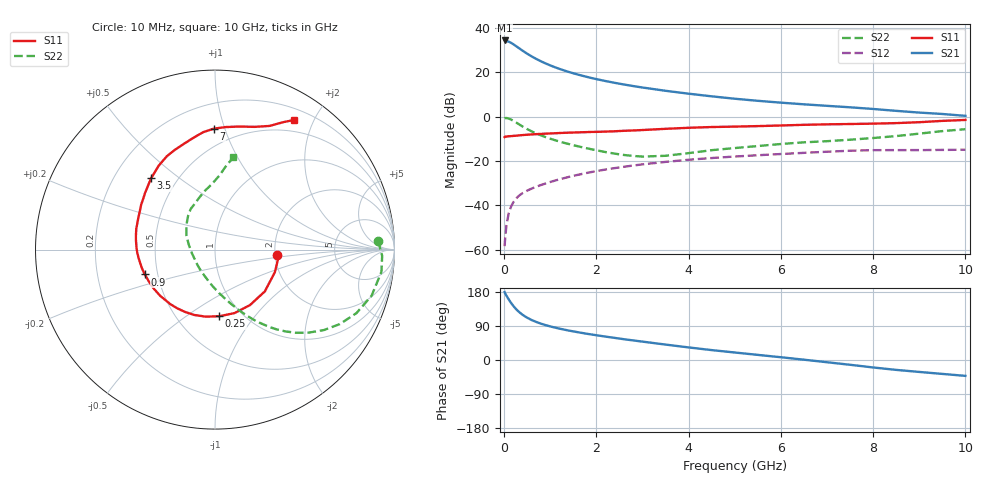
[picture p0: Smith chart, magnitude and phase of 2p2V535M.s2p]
! (c) 2009  Infineon Technologies AG, Munich
! Infineon Technologies  Discrete & RF Semiconductors
! BFP420
! VCE =  2.5 V,  IC =  35 mA
! Common Emitter S-Parameters:  Nov 2009
# GHz  S  MA  R  50
!  f  S11  S21  S12  S22
! GHz  MAG  ANG  MAG  ANG  MAG  ANG  MAG  ANG
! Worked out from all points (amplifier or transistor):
!   46 points, 10 MHz to 10 GHz, reference 50 ohm
!   highest |S21| = 34.4 dB at 10 MHz (marker M1)
!   |S21| within 3 dB of that: start of sweep to 288.8 MHz
!   unconditionally stable (mu >= 1): start of sweep to 12.34 MHz; 1.436 GHz to end of sweep
!   at 300 MHz: K = 0.43, MSG = 33.6 dB, |S12| = -36.0 dB
!   at 1.7 GHz: K = 1.05, MAG = 20.8 dB, |S12| = -25.8 dB
!   at 10 GHz: K = 1.06, MAG = 6.2 dB, |S12| = -14.9 dB
!   lowest NFmin = 1.64 dB at 900 MHz
!   S11 on the Smith chart (normalised r, x): 10 MHz: 2.05, -0.14; 250 MHz: 0.79, -0.68; 900 MHz: 0.42, -0.14; 3.5 GHz: 0.36, +0.40; 7 GHz: 0.37, +0.92; 10 GHz: 0.34, +1.73
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0.01  0.3472 -4.9  52.64 179.4  0.0012 105.2  0.9106 3.0
0.02  0.355 -9.0  51.54 175.9  0.0017 86.4  0.9319 -2.1
0.05  0.3565 -20.7  51.03 169.7  0.0036 85.4  0.9356 -7.6
0.1  0.3624 -40.0  49.36 159.7  0.0067 78.4  0.9096 -16.4
0.15  0.3655 -57.9  46.47 150.6  0.0094 74.0  0.8639 -24.2
0.2  0.3701 -73.0  43.19 142.6  0.0118 70.0  0.8091 -30.9
0.25  0.3719 -86.4  39.72 135.4  0.0139 66.8  0.7529 -36.6
0.3  0.3773 -97.9  36.58 129.3  0.0158 64.6  0.6979 -41.5
0.35  0.3821 -107.6  33.63 124.0  0.0174 62.8  0.6476 -45.7
0.4  0.3853 -115.8  30.96 119.3  0.0189 61.6  0.6024 -49.2
0.5  0.3927 -129.2  26.44 111.6  0.0215 60.2  0.5257 -55.0
0.6  0.3993 -139.6  22.88 105.3  0.024 59.5  0.4653 -59.7
0.7  0.405 -147.9  20.06 100.2  0.0264 59.3  0.4174 -63.5
0.9  0.4151 -160.5  15.93 92.0  0.0312 59.2  0.3466 -70.0
1.3  0.4334 -177.7  11.08 80.2  0.0412 58.7  0.2578 -81.8
1.7  0.4472 170.1  8.396 71.2  0.0515 56.9  0.2039 -93.8
2.4  0.4698 153.2  5.814 58.3  0.0694 51.8  0.1466 -119.1
3.5  0.5335 131.9  3.85 40.7  0.0958 41.9  0.1314 -173.0
5.5  0.6145 106.3  2.287 13.5  0.1353 22.8  0.2182 135.9
7  0.6738 90.6  1.762 -5.9  0.1624 8.4  0.281 113.2
8.5  0.7182 72.2  1.357 -26.1  0.1766 -8.8  0.3661 92.6
10  0.8464 58.6  1.047 -41.9  0.18 -20.2  0.5243 78.7
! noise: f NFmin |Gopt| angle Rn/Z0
0.9  1.64  0.3  -155  0.13
1.8  1.9  0.37  -142  0.15
2.4  2.1  0.34  -134  0.19
3  2.11  0.4  -126  0.22
4  2.25  0.5  -110  0.35
5  2.73  0.54  -94  0.59
6  3.16  0.59  -82  0.84
